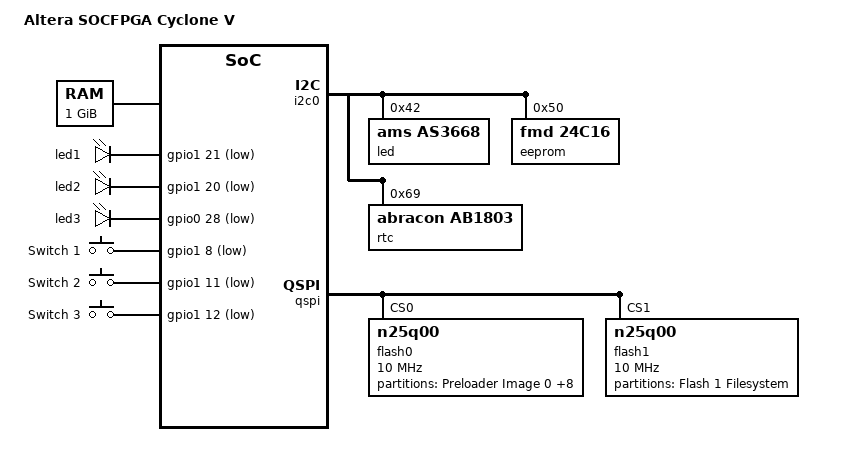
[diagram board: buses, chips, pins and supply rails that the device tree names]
/*
 *  Copyright (C) 2013 Critical Link Corporation <www.criticallink.com>
 *
 *  Derived from socfpga_cyclone5.dts with following copyright:
 *
 *  Copyright (C) 2012 Altera Corporation <www.altera.com>
 *
 * This program is free software; you can redistribute it and/or modify
 * it under the terms of the GNU General Public License as published by
 * the Free Software Foundation; either version 2 of the License, or
 * (at your option) any later version.
 *
 * This program is distributed in the hope that it will be useful,
 * but WITHOUT ANY WARRANTY; without even the implied warranty of
 * MERCHANTABILITY or FITNESS FOR A PARTICULAR PURPOSE.  See the
 * GNU General Public License for more details.
 *
 * You should have received a copy of the GNU General Public License
 * along with this program.  If not, see <http://www.gnu.org/licenses/>.
 */

/dts-v1/;
/include/ "socfpga.dtsi"

/ {
	model = "Altera SOCFPGA Cyclone V";
	compatible = "altr,socfpga-cyclone5", "altr,socfpga";

	chosen {
		bootargs = "console=ttyS0,57600";
	};

	memory {
		name = "memory";
		device_type = "memory";
		reg = <0x0 0x40000000>; /* 1 GB */
	};

	aliases {
		/* this allow the ethaddr uboot environmnet variable contents
		 * to be added to the gmac1 device tree blob.
		 */
		ethernet0 = &gmac1;
	};

	soc {
		clkmgr@ffd04000 {
			clocks {
				osc1 {
					clock-frequency = <25000000>;
				};
			};
		};

		/* On DevKit Board */
		dcan0: d_can@ffc00000 {
		};

		/* On DevKit Board */
		dcan1: d_can@ffc10000 {
		};

		dwmmc0@ff704000 {
			num-slots = <1>;
			supports-highspeed;
			broken-cd;
			altr,dw-mshc-ciu-div = <4>;
			altr,dw-mshc-sdr-timing = <0 3>;

			slot@0 {
				reg = <0>;
				bus-width = <4>;
			};
		};

		ethernet@ff700000 {
			status = "disabled";
		};

		ethernet@ff702000 {
			phy-mode = "rgmii";
			phy-addr = <0xffffffff>; /* probe for phy addr */
		};

		/* I2C0 is on the SOM proper */
		i2c0: i2c@ffc04000 {
			speed-mode = <0>;
		};

		/* I2C1 is on the devkit base board */
		i2c1: i2c@ffc05000 {
			speed-mode = <0>;
		};

		i2c2: i2c@ffc06000 {
			status = "disabled";
		};

		i2c3: i2c@ffc07000 {
			status = "disabled";
		};

		/* on the SOM */
		qspi: spi@ff705000 {
			compatible = "cadence,qspi";
			#address-cells = <1>;
			#size-cells = <0>;
			reg = <0xff705000 0x1000>,
				<0xffa00000 0x1000>;
			interrupts = <0 151 4>;
			master-ref-clk = <400000000>;
			ext-decoder = <0>;  /* external decoder */
			num-chipselect = <4>;
			fifo-depth = <128>;
			bus-num = <2>;

			flash0: n25q00@0 {
				#address-cells = <1>;
				#size-cells = <1>;
				compatible = "n25q00";
				reg = <0>;	/* chip select */
				spi-max-frequency = <10000000>;
				page-size = <256>;
				block-size = <16>; /* 2^16, 64KB */
				quad = <1>;	   /* 1-support quad */
				tshsl-ns = <200>;
				tsd2d-ns = <255>;
				tchsh-ns = <20>;
				tslch-ns = <20>;

				partition@0 {
					/* 64 KB for preloader image 0. */
					label = "Preloader Image 0";
					reg = <0x0 0x10000>;
				};
				partition@10000 {
					/* 64 KB for preloader image 1. */
					label = "Preloader Image 1";
					reg = <0x10000 0x10000>;
				};
				partition@20000 {
					/* 64 KB for preloader image 2. */
					label = "Preloader Image 2";
					reg = <0x20000 0x10000>;
				};
				partition@30000 {
					/* 64 KB for preloader image 3. */
					label = "Preloader Image 3";
					reg = <0x30000 0x10000>;
				};
				partition@40000 {
					/* 64 KB for u-Boot Env */
					label = "U-Boot Env";
					reg = <0x40000 0x10000>;
				};
				partition@50000 {
					/* 64 KB for DTB */
					label = "Device Tree Blob";
					reg = <0x50000 0x10000>;
				};
				partition@60000 {
					/* u-Boot, 512K */
					label = "U-Boot";
					reg = <0x60000 0x80000>;
				};
				partition@E0000 {
					/* Kernel, 8M */
					label = "Kernel";
					reg = <0xE0000 0x800000>;
				};
				partition@8E0000 {
					/* 7.125MB for jffs2 data. */
					label = "Flash 0 Filesystem";
					reg = <0x8E0000 0x720000>;
				};
			};

			flash1: n25q00@1 {
				#address-cells = <1>;
				#size-cells = <1>;
				compatible = "n25q00";
				reg = <1>;	/* chip select */
				spi-max-frequency = <10000000>;
				page-size = <256>;
				block-size = <16>; /* 2^16, 64KB */
				quad = <1>;	   /* 1-support quad */
				tshsl-ns = <200>;
				tsd2d-ns = <255>;
				tchsh-ns = <20>;
				tslch-ns = <20>;

				partition@0 {
					/* 16MB for raw data. */
					label = "Flash 1 Filesystem";
					reg = <0x0 0x1000000>;
				};
			};

		};

		sysmgr@ffd08000 {
			cpu1-start-addr = <0xffd080c4>;
		};

		timer0@ffc08000 {
			clock-frequency = <100000000>;
		};

		timer1@ffc09000 {
			clock-frequency = <100000000>;
		};

		timer2@ffd00000 {
			clock-frequency = <25000000>;
		};

		timer3@ffd01000 {
			clock-frequency = <25000000>;
		};

		serial0@ffc02000 {
			clock-frequency = <100000000>;
		};

		serial1@ffc03000 {
			clock-frequency = <100000000>;
		};

		usb0: usb@ffb00000 {
			status = "disabled";
		};

		/* On SOM */
		usb1: usb@ffb40000 {
		};
	};

	/* on DevKit Board */
	gpio_leds {
		compatible = "gpio-leds";
		/* GPIO 50 */
		devkit_led1 {
			label = "led1";
			gpios = <&gpio1 21 1>;
		};

		/* GPIO 49 */
		devkit_led2 {
			label = "led2";
			gpios = <&gpio1 20 1>;
		};

		/* GPIO 28 */
		devkit_led3 {
			label = "led3";
			gpios = <&gpio0 28 1>;
		};
	};

	/* on DevKit Board */
	gpio_keys {
		compatible = "gpio-keys";
		#address-cells = <1>;
		#size-cells = <0>;
		/* GPIO 37 */
		button@1 {
			label = "Switch 1";
			linux,code = <0x101>;
			gpios = <&gpio1 8 1>;
			debounce-interval = <100>;
		};
		/* GPIO 40 */
		button@2 {
			label = "Switch 2";
			linux,code = <0x102>;
			gpios = <&gpio1 11 1>;
			debounce-interval = <100>;
		};
		/* GPIO 41 */
		button@3 {
			label = "Switch 3";
			linux,code = <0x103>;
			gpios = <&gpio1 12 1>;
			debounce-interval = <100>;
		};
	};
};

&i2c0 {
	/* on SOM */
	led@42 { 
		device_type = "led";
		compatible = "ams,as3668";
		reg = <0x42>;
	};
	/* on SOM */
	eeprom@50 {
		compatible = "fmd,24c16";
		reg = <0x50>;
	};
	/* on SOM */
	rtc@69 { 
		device_type = "rtc";
		compatible = "abracon,ab1803";
		reg = <0x69>;
	};
};

